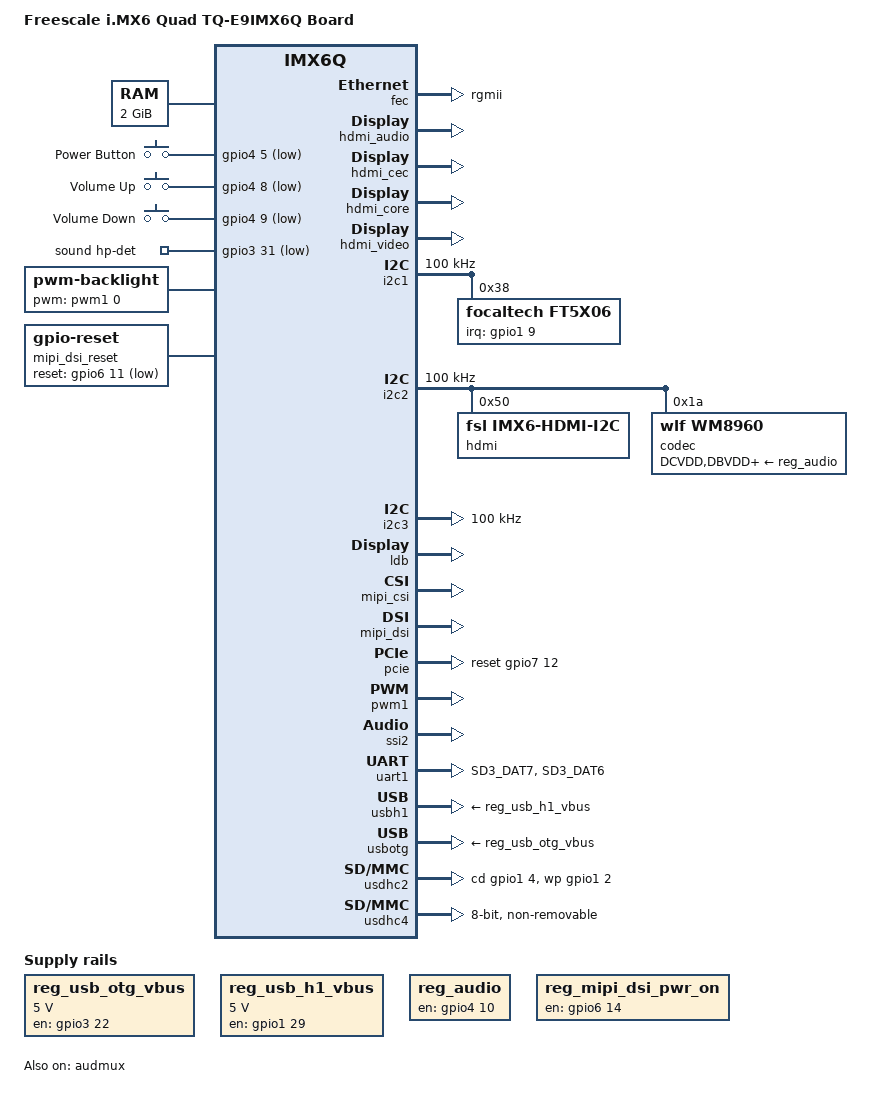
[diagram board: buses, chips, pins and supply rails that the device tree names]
/*
 * Copyright 2012 Freescale Semiconductor, Inc.
 * Copyright 2011 Linaro Ltd.
 *
 * The code contained herein is licensed under the GNU General Public
 * License. You may obtain a copy of the GNU General Public License
 * Version 2 or later at the following locations:
 *
 * http://www.opensource.org/licenses/gpl-license.html
 * http://www.gnu.org/copyleft/gpl.html
 */

/dts-v1/;

#include "imx6q.dtsi"

/ {
	model = "Freescale i.MX6 Quad TQ-E9IMX6Q Board";
	compatible = "fsl,tq-e9", "fsl,imx6q-sabresd", "fsl,imx6q";

	aliases {
		mxcfb0 = &mxcfb1;
		mxcfb1 = &mxcfb2;
		mxcfb2 = &mxcfb3;
		mxcfb3 = &mxcfb4;
	};

	memory {
		reg = <0x10000000 0x80000000>;
	};

	regulators {
		compatible = "simple-bus";

		reg_usb_otg_vbus: usb_otg_vbus {
			compatible = "regulator-fixed";
			regulator-name = "usb_otg_vbus";
			regulator-min-microvolt = <5000000>;
			regulator-max-microvolt = <5000000>;
			gpio = <&gpio3 22 0>;
			enable-active-high;
		};

		reg_usb_h1_vbus: usb_h1_vbus {
			compatible = "regulator-fixed";
			regulator-name = "usb_h1_vbus";
			regulator-min-microvolt = <5000000>;
			regulator-max-microvolt = <5000000>;
			gpio = <&gpio1 29 0>;
			enable-active-high;
		};

		reg_audio: wm8960_supply {
			compatible = "regulator-fixed";
			regulator-name = "wm8960-supply";
			gpio = <&gpio4 10 0>;
			enable-active-high;
		};

		reg_mipi_dsi_pwr_on: mipi_dsi_pwr_on {
			compatible = "regulator-fixed";
			regulator-name = "mipi_dsi_pwr_on";
			gpio = <&gpio6 14 0>;
			enable-active-high;
		};
	};

	gpio-keys {
		compatible = "gpio-keys";
		power {
			label = "Power Button";
			gpios = <&gpio4 5 1>;
			linux,code = <116>; /* KEY_POWER */
			gpio-key,wakeup;
		};

		volume-up {
			label = "Volume Up";
			gpios = <&gpio4 8 1>;
			linux,code = <115>; /* KEY_VOLUMEUP */
		};

		volume-down {
			label = "Volume Down";
			gpios = <&gpio4 9 1>;
			linux,code = <114>; /* KEY_VOLUMEDOWN */
		};
	};

	sound {
		compatible = "fsl,imx-audio-wm8960";
		model = "wm8960-audio";
		ssi-controller = <&ssi2>;
		audio-codec = <&codec>;
		audio-routing =
			"Headphone Jack", "HP_L",
			"Headphone Jack", "HP_R",
			"Ext Spk", "SPK_LP",
			"Ext Spk", "SPK_RP",
			"LINPUT1", "MICB",
			"MICB", "AMIC";
		mux-int-port = <2>;
		mux-ext-port = <3>;
		hp-det-gpios = <&gpio3 31 1>;
	};

	sound-hdmi {
		compatible = "fsl,imx6q-audio-hdmi",
			     "fsl,imx-audio-hdmi";
		model = "imx-audio-hdmi";
		hdmi-controller = <&hdmi_audio>;
	};

	mxcfb1: fb@0 {
		compatible = "fsl,mxc_sdc_fb";
		disp_dev = "lcd";
		interface_pix_fmt = "RGB24";
		mode_str ="CLAA-WVGA";
		default_bpp = <16>;
		int_clk = <0>;
		late_init = <0>;
		status = "okay";
	};

	mxcfb2: fb@1 {
		compatible = "fsl,mxc_sdc_fb";
		disp_dev = "hdmi";
		interface_pix_fmt = "RGB24";
		mode_str ="1920x1080M@60";
		default_bpp = <16>;
		int_clk = <0>;
		late_init = <0>;
		status = "okay";
	};

	mxcfb3: fb@2 {
		compatible = "fsl,mxc_sdc_fb";
		disp_dev = "ldb";
		interface_pix_fmt = "RGB666";
		mode_str ="LDB-XGA";
		default_bpp = <16>;
		int_clk = <0>;
		late_init = <0>;
		status = "okay";
	};

	mxcfb4: fb@3 {
		compatible = "fsl,mxc_sdc_fb";
		disp_dev = "ldb";
		interface_pix_fmt = "RGB666";
		mode_str ="LDB-XGA";
		default_bpp = <16>;
		int_clk = <0>;
		late_init = <0>;
		status = "okay";
	};

	lcd@0 {
		compatible = "fsl,lcd";
		ipu_id = <0>;
		disp_id = <0>;
		default_ifmt = "RGB24";
		pinctrl-names = "default";
		pinctrl-0 = <&pinctrl_ipu1_1>;
		status = "okay";
	};

	backlight {
		compatible = "pwm-backlight";
		pwms = <&pwm1 0 5000000>;
		brightness-levels = <0 4 8 16 32 64 128 255>;
		default-brightness-level = <7>;
	};

	v4l2_cap_0 {
		compatible = "fsl,imx6q-v4l2-capture";
		ipu_id = <0>;
		csi_id = <0>;
		mclk_source = <0>;
		status = "okay";
	};

	v4l2_cap_1 {
		compatible = "fsl,imx6q-v4l2-capture";
		ipu_id = <0>;
		csi_id = <1>;
		mclk_source = <0>;
		status = "okay";
	};

	v4l2_out {
		compatible = "fsl,mxc_v4l2_output";
		status = "okay";
	};

	mipi_dsi_reset: mipi-dsi-reset {
		compatible = "gpio-reset";
		reset-gpios = <&gpio6 11 GPIO_ACTIVE_LOW>;
		reset-delay-us = <50>;
		#reset-cells = <0>;
	};
};

&audmux {
	pinctrl-names = "default";
	pinctrl-0 = <&pinctrl_audmux_2>;
	status = "okay";
};

&cpu0 {
	arm-supply = <&reg_arm>;
	soc-supply = <&reg_soc>;
	pu-supply = <&reg_pu>;	/* use pu_dummy if VDDSOC share with VDDPU */
};

&fec {
	pinctrl-names = "default";
	pinctrl-0 = <&pinctrl_enet_1>;
	phy-mode = "rgmii";
	status = "okay";
};

&gpc {
	fsl,cpu_pupscr_sw2iso = <0xf>;
	fsl,cpu_pupscr_sw = <0xf>;
	fsl,cpu_pdnscr_iso2sw = <0x1>;
	fsl,cpu_pdnscr_iso = <0x1>;
	fsl,ldo-bypass = <0>; /* use ldo-bypass, u-boot will check it and configure */
	fsl,wdog-reset = <1>; /* watchdog select of reset source */
	pu-supply = <&reg_pu>; /* ldo-bypass:use pu_dummy if VDDSOC share with VDDPU */
};

&gpu {
	pu-supply = <&reg_pu>; /* ldo-bypass:use pu_dummy if VDDSOC share with VDDPU */
};

&hdmi_audio {
	status = "okay";
};

&hdmi_cec {
	pinctrl-names = "default";
	pinctrl-0 = <&pinctrl_hdmi_cec_2>;
	status = "okay";
};

&hdmi_core {
	ipu_id = <0>;
	disp_id = <0>;
	status = "okay";
};

&hdmi_video {
	fsl,phy_reg_vlev = <0x0294>;
	fsl,phy_reg_cksymtx = <0x800d>;
	status = "okay";
};

&i2c1 {
	clock-frequency = <100000>;
	pinctrl-names = "default";
	pinctrl-0 = <&pinctrl_i2c1_2>;
	status = "okay";

	ft5x06: ft5x06_ts@38 {
		compatible = "focaltech,ft5x06";
		reg = <0x38>;
		interrupt-parent = <&gpio1>;
		interrupts = <9 2>;

		cfg-regs {
			id-g-thgroup = <0x46>;
			id-g-thpeak = <0xff>;
			id-g-thcal = <0xff>;
			id-g-thwater = <0x3c>;
			id-g-thtemp = <0x0a>;
			id-g-thdiff = <0x14>;
			id-g-ctrl = <0x0>;
			id-g-timeentermonitor = <0x2>;
			id-g-periodactive = <0x0c>;
			id-g-periodmonitor = <0x28>;
		};
	};
};

&i2c2 {
	clock-frequency = <100000>;
	pinctrl-names = "default";
	pinctrl-0 = <&pinctrl_i2c2_2>;
	status = "okay";

	hdmi: edid@50 {
		compatible = "fsl,imx6-hdmi-i2c";
		reg = <0x50>;
	};

	codec: wm8960@1a {
		compatible = "wlf,wm8960";
		reg = <0x1a>;
		clocks = <&clks 201>;
		DCVDD-supply = <&reg_audio>;
		DBVDD-supply = <&reg_audio>;
		AVDD-supply = <&reg_audio>;
		SPKVDD1-supply = <&reg_audio>;
		SPKVDD2-supply = <&reg_audio>;
		shared_lrclk;
		/* capless; */
       };
};

&i2c3 {
	clock-frequency = <100000>;
	pinctrl-names = "default";
	pinctrl-0 = <&pinctrl_i2c3_2>;
	status = "okay";
};

&iomuxc {
	pinctrl-names = "default";
	pinctrl-0 = <&pinctrl_hog_1>;

	uart1 {
		pinctrl_uart1_2: uart1grp-2 {
			fsl,pins = <
				MX6QDL_PAD_SD3_DAT7__UART1_TX_DATA 0x1b0b1
				MX6QDL_PAD_SD3_DAT6__UART1_RX_DATA 0x1b0b1
			>;
		};
	};

	hog {
		pinctrl_hog_1: hoggrp-1 {
			fsl,pins = <
				MX6QDL_PAD_GPIO_4__GPIO1_IO04   0x80000000
				MX6QDL_PAD_GPIO_5__GPIO1_IO05   0x80000000
				MX6QDL_PAD_NANDF_D0__GPIO2_IO00 0x80000000
				MX6QDL_PAD_NANDF_D1__GPIO2_IO01 0x80000000
				MX6QDL_PAD_NANDF_D2__GPIO2_IO02 0x80000000
				MX6QDL_PAD_NANDF_D3__GPIO2_IO03 0x80000000
				MX6QDL_PAD_NANDF_ALE__GPIO6_IO08 0x80000000
				MX6QDL_PAD_NANDF_CLE__GPIO6_IO07 0x80000000
				MX6QDL_PAD_GPIO_0__CCM_CLKO1    0x130b0
				MX6QDL_PAD_NANDF_CS2__GPIO6_IO15 0x80000000
				MX6QDL_PAD_NANDF_CS3__GPIO6_IO16 0x80000000
				MX6QDL_PAD_EIM_D26__GPIO3_IO26 0x80000000
				MX6QDL_PAD_EIM_CS1__GPIO2_IO24 0x80000000
				MX6QDL_PAD_ENET_RXD0__GPIO1_IO27 0x80000000
				MX6QDL_PAD_EIM_A25__GPIO5_IO02 0x80000000
				MX6QDL_PAD_EIM_D23__GPIO3_IO23 0x80000000
				MX6QDL_PAD_ENET_TXD1__GPIO1_IO29 0x80000000
				MX6QDL_PAD_EIM_D22__GPIO3_IO22  0x80000000
				MX6QDL_PAD_NANDF_CS0__GPIO6_IO11 0x80000000
				MX6QDL_PAD_NANDF_CS1__GPIO6_IO14 0x80000000
				MX6QDL_PAD_EIM_EB3__GPIO2_IO31 0x80000000
				MX6QDL_PAD_EIM_D16__GPIO3_IO16 0x80000000
				MX6QDL_PAD_EIM_DA9__GPIO3_IO09 0x80000000
				MX6QDL_PAD_GPIO_4__GPIO1_IO04 0x80000000
				MX6QDL_PAD_GPIO_5__GPIO1_IO05 0x80000000
				MX6QDL_PAD_EIM_D29__GPIO3_IO29 0x80000000
				MX6QDL_PAD_SD3_RST__GPIO7_IO08 0x80000000
				MX6QDL_PAD_GPIO_9__GPIO1_IO09 0x80000000
				MX6QDL_PAD_GPIO_1__WDOG2_B 0x80000000
				MX6QDL_PAD_GPIO_2__GPIO1_IO02 0x80000000
				MX6QDL_PAD_KEY_ROW1__GPIO4_IO09 0x80000000
				MX6QDL_PAD_KEY_COL1__GPIO4_IO08 0x80000000
				MX6QDL_PAD_GPIO_19__GPIO4_IO05 0x80000000
			>;
		};
	};
};

&ldb {
	ipu_id = <1>;
	disp_id = <1>;
	ext_ref = <1>;
	mode = "sep1";
	sec_ipu_id = <1>;
	sec_disp_id = <0>;
	status = "okay";
};

&mipi_csi {
	status = "okay";
	ipu_id = <0>;
	csi_id = <1>;
	v_channel = <0>;
	lanes = <2>;
};

&mipi_dsi {
	dev_id = <0>;
	disp_id = <1>;
	lcd_panel = "TRULY-WVGA";
	disp-power-on-supply = <&reg_mipi_dsi_pwr_on>;
	resets = <&mipi_dsi_reset>;
	status = "okay";
};

&pcie {
	power-on-gpio = <&gpio3 19 0>;
	reset-gpio = <&gpio7 12 0>;
	status = "okay";
};


&pwm1 {
	pinctrl-names = "default";
	pinctrl-0 = <&pinctrl_pwm1_1>;
	status = "okay";
};

&ssi2 {
	fsl,mode = "i2s-slave";
	status = "okay";
};

&uart1 {
	pinctrl-names = "default";
	pinctrl-0 = <&pinctrl_uart1_2>;
	status = "okay";
};

&usbh1 {
	vbus-supply = <&reg_usb_h1_vbus>;
	status = "okay";
};

&usbotg {
	vbus-supply = <&reg_usb_otg_vbus>;
	pinctrl-names = "default";
	pinctrl-0 = <&pinctrl_usbotg_2>;
	disable-over-current;
	status = "okay";
};

&usdhc2 {
	pinctrl-names = "default";
	pinctrl-0 = <&pinctrl_usdhc2_2>;
	cd-gpios = <&gpio1 4 0>;
	wp-gpios = <&gpio1 2 0>;
	no-1-8-v;
	keep-power-in-suspend;
	enable-sdio-wakeup;
	status = "okay";
};

&usdhc4 {
        pinctrl-names = "default";
        pinctrl-0 = <&pinctrl_usdhc4_1>;
        bus-width = <8>;
        non-removable;
        no-1-8-v;
	keep-power-in-suspend;
        status = "okay";
};

&vpu {
	pu-supply = <&reg_pu>; /* ldo-bypass:use pu_dummy if VDDSOC share with VDDPU */
};
